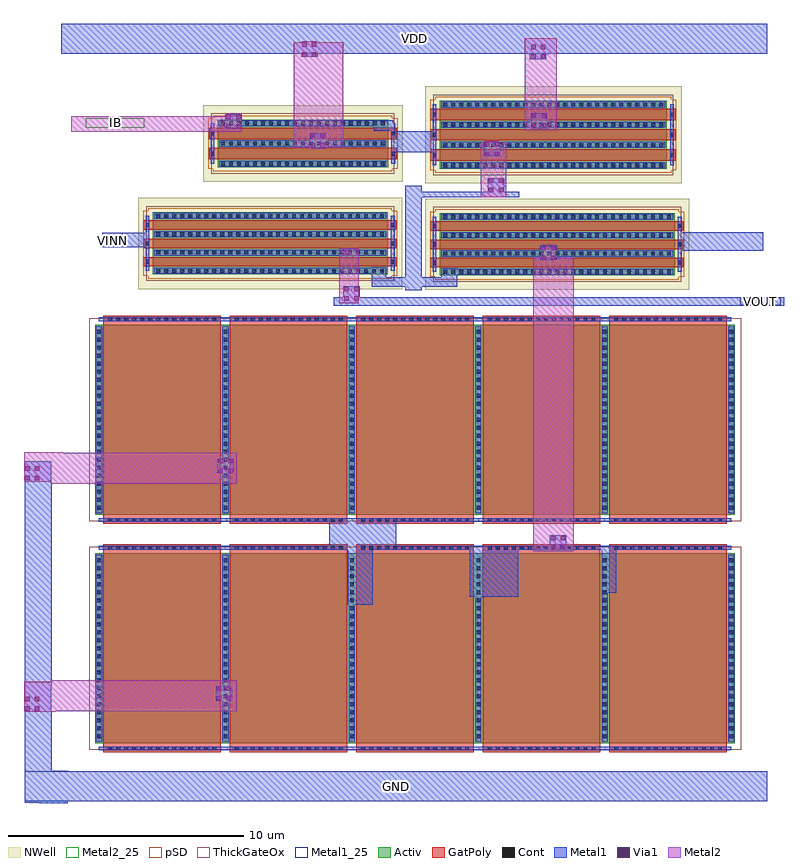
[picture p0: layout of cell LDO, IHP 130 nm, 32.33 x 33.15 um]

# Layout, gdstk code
from math import pi, radians
import gdstk
lib = gdstk.Library(unit=1e-6, precision=1e-09)
def R(c, l, rs):  # rectangles x0, y0, x1, y1
    for r in rs: c.add(gdstk.rectangle(r[:2], r[2:], *l))
def A(c, l, x, y, w, h, nx, ny, dx, dy):  # array of equal rectangles
    R(c, l, [(x+i*dx, y+j*dy, x+i*dx+w, y+j*dy+h) for i in range(nx) for j in range(ny)])
Activ = (1, 0)
GatPoly = (5, 0)
Cont = (6, 0)
Metal1 = (8, 0)
Metal1_25 = (8, 25)
Metal2 = (10, 0)
Metal2_25 = (10, 25)
pSD = (14, 0)
Via1 = (19, 0)
NWell = (31, 0)
ThickGateOx = (44, 0)

via_6rc4qx = lib.new_cell('via_6RC4QX')
R(via_6rc4qx, Metal1, [(-0.35,-0.31,0.35,0.31)])
R(via_6rc4qx, Metal2, [(-0.305,-0.35,0.305,0.35)])
R(via_6rc4qx, Via1, [(-0.3,-0.3,-0.11,-0.11), (0.11,-0.3,0.3,-0.11), (-0.3,0.11,-0.11,0.3), (0.11,0.11,0.3,0.3)])

sg13_hv_pmos_bjjluz = lib.new_cell('sg13_hv_pmos_BJJLUZ')
R(sg13_hv_pmos_bjjluz, Activ, [(-1.44,-4.835,1.44,4.835)])
A(sg13_hv_pmos_bjjluz, GatPoly, -1.1, -5.205, 0.48, 10.41, 3, 1, 0.86, 0)
A(sg13_hv_pmos_bjjluz, Cont, -0.94, -5.135, 0.16, 0.16, 3, 2, 0.86, 10.11)
A(sg13_hv_pmos_bjjluz, Cont, -1.37, -4.67, 0.16, 0.16, 4, 28, 0.86, 0.34)
A(sg13_hv_pmos_bjjluz, Metal1, -1.42, -4.765, 0.26, 9.53, 4, 1, 0.86, 0)
R(sg13_hv_pmos_bjjluz, Metal1, [(-1.29,-5.135,1.29,-4.975), (-1.29,4.975,1.29,5.135)])
R(sg13_hv_pmos_bjjluz, pSD, [(-1.5,-5.235,1.5,-5.015), (-1.62,-5.015,1.62,5.015), (-1.5,5.015,1.5,5.235)])
R(sg13_hv_pmos_bjjluz, NWell, [(-2.06,-5.455,2.06,5.455)])
R(sg13_hv_pmos_bjjluz, ThickGateOx, [(-1.71,-5.105,1.71,5.105)])
sg13_hv_pmos_bjjluz.add(gdstk.Label('S2', (1.29,0), layer=8, texttype=25))
sg13_hv_pmos_bjjluz.add(gdstk.Label('D2', (0.43,0), layer=8, texttype=25))
sg13_hv_pmos_bjjluz.add(gdstk.Label('S1', (-0.43,0), layer=8, texttype=25))
sg13_hv_pmos_bjjluz.add(gdstk.Label('G', (-0.86,5.055), layer=8, texttype=25))
sg13_hv_pmos_bjjluz.add(gdstk.Label('G', (0,5.055), layer=8, texttype=25))
sg13_hv_pmos_bjjluz.add(gdstk.Label('G', (0.86,5.055), layer=8, texttype=25))
sg13_hv_pmos_bjjluz.add(gdstk.Label('D0', (-1.29,0), layer=8, texttype=25))

sg13_hv_nmos_h3lz6b = lib.new_cell('sg13_hv_nmos_H3LZ6B')
R(sg13_hv_nmos_h3lz6b, Activ, [(-13.6,-4.05,13.6,4.05)])
A(sg13_hv_nmos_h3lz6b, GatPoly, -13.26, -4.42, 5, 8.84, 5, 1, 5.38, 0)
A(sg13_hv_nmos_h3lz6b, Cont, -13.05, -4.35, 0.16, 0.16, 14, 2, 0.34, 8.54)
A(sg13_hv_nmos_h3lz6b, Cont, -7.67, -4.35, 0.16, 0.16, 14, 2, 0.34, 8.54)
A(sg13_hv_nmos_h3lz6b, Cont, -2.29, -4.35, 0.16, 0.16, 14, 2, 0.34, 8.54)
A(sg13_hv_nmos_h3lz6b, Cont, 3.09, -4.35, 0.16, 0.16, 14, 2, 0.34, 8.54)
A(sg13_hv_nmos_h3lz6b, Cont, 8.47, -4.35, 0.16, 0.16, 14, 2, 0.34, 8.54)
A(sg13_hv_nmos_h3lz6b, Cont, -13.53, -3.82, 0.16, 0.16, 6, 23, 5.38, 0.34)
A(sg13_hv_nmos_h3lz6b, Metal1, -13.58, -3.98, 0.26, 7.96, 6, 1, 5.38, 0)
R(sg13_hv_nmos_h3lz6b, Metal1, [(-13.45,-4.35,13.45,-4.19), (-13.45,4.19,13.45,4.35)])
R(sg13_hv_nmos_h3lz6b, ThickGateOx, [(-13.87,-4.32,13.87,4.32)])
sg13_hv_nmos_h3lz6b.add(gdstk.Label('S4', (13.45,0), layer=8, texttype=25))
sg13_hv_nmos_h3lz6b.add(gdstk.Label('S3', (2.69,0), layer=8, texttype=25))
sg13_hv_nmos_h3lz6b.add(gdstk.Label('D2', (-2.69,0), layer=8, texttype=25))
sg13_hv_nmos_h3lz6b.add(gdstk.Label('S1', (-8.07,0), layer=8, texttype=25))
sg13_hv_nmos_h3lz6b.add(gdstk.Label('D4', (8.07,0), layer=8, texttype=25))
sg13_hv_nmos_h3lz6b.add(gdstk.Label('G', (-10.76,4.27), layer=8, texttype=25))
sg13_hv_nmos_h3lz6b.add(gdstk.Label('G', (-5.38,4.27), layer=8, texttype=25))
sg13_hv_nmos_h3lz6b.add(gdstk.Label('G', (0,4.27), layer=8, texttype=25))
sg13_hv_nmos_h3lz6b.add(gdstk.Label('G', (5.38,4.27), layer=8, texttype=25))
sg13_hv_nmos_h3lz6b.add(gdstk.Label('G', (10.76,4.27), layer=8, texttype=25))
sg13_hv_nmos_h3lz6b.add(gdstk.Label('D0', (-13.45,0), layer=8, texttype=25))

via_gq9r9n = lib.new_cell('via_GQ9R9N')
R(via_gq9r9n, Metal1, [(-0.145,-0.105,0.145,0.105)])
R(via_gq9r9n, Metal2, [(-0.1,-0.145,0.1,0.145)])
R(via_gq9r9n, Via1, [(-0.095,-0.095,0.095,0.095)])

sg13_hv_pmos_qbfrvx = lib.new_cell('sg13_hv_pmos_QBFRVX')
R(sg13_hv_pmos_qbfrvx, Activ, [(-1.32,-5,1.32,5)])
A(sg13_hv_pmos_qbfrvx, GatPoly, -0.98, -5.37, 0.4, 10.74, 3, 1, 0.78, 0)
A(sg13_hv_pmos_qbfrvx, Cont, -0.86, -5.3, 0.16, 0.16, 3, 2, 0.78, 10.44)
A(sg13_hv_pmos_qbfrvx, Cont, -1.25, -4.84, 0.16, 0.16, 4, 29, 0.78, 0.34)
A(sg13_hv_pmos_qbfrvx, Metal1, -1.3, -4.93, 0.26, 9.86, 4, 1, 0.78, 0)
R(sg13_hv_pmos_qbfrvx, Metal1, [(-1.17,-5.3,1.17,-5.14), (-1.17,5.14,1.17,5.3)])
R(sg13_hv_pmos_qbfrvx, pSD, [(-1.38,-5.4,1.38,-5.18), (-1.5,-5.18,1.5,5.18), (-1.38,5.18,1.38,5.4)])
R(sg13_hv_pmos_qbfrvx, NWell, [(-1.94,-5.62,1.94,5.62)])
R(sg13_hv_pmos_qbfrvx, ThickGateOx, [(-1.59,-5.27,1.59,5.27)])
sg13_hv_pmos_qbfrvx.add(gdstk.Label('S2', (1.17,0), layer=8, texttype=25))
sg13_hv_pmos_qbfrvx.add(gdstk.Label('D2', (0.39,0), layer=8, texttype=25))
sg13_hv_pmos_qbfrvx.add(gdstk.Label('S1', (-0.39,0), layer=8, texttype=25))
sg13_hv_pmos_qbfrvx.add(gdstk.Label('G', (-0.78,5.22), layer=8, texttype=25))
sg13_hv_pmos_qbfrvx.add(gdstk.Label('G', (0,5.22), layer=8, texttype=25))
sg13_hv_pmos_qbfrvx.add(gdstk.Label('G', (0.78,5.22), layer=8, texttype=25))
sg13_hv_pmos_qbfrvx.add(gdstk.Label('D0', (-1.17,0), layer=8, texttype=25))

sg13_hv_pmos_hrpdyf = lib.new_cell('sg13_hv_pmos_HRPDYF')
R(sg13_hv_pmos_hrpdyf, Activ, [(-1.01,-3.625,1.01,3.625)])
R(sg13_hv_pmos_hrpdyf, GatPoly, [(-0.67,-3.995,-0.19,3.995), (0.19,-3.995,0.67,3.995)])
A(sg13_hv_pmos_hrpdyf, Cont, -0.94, -3.48, 0.16, 0.16, 3, 21, 0.86, 0.34)
R(sg13_hv_pmos_hrpdyf, Cont, [(-0.51,-3.925,-0.35,-3.765), (0.35,-3.925,0.51,-3.765), (-0.51,3.765,-0.35,3.925), (0.35,3.765,0.51,3.925)])
A(sg13_hv_pmos_hrpdyf, Metal1, -0.99, -3.555, 0.26, 7.11, 3, 1, 0.86, 0)
R(sg13_hv_pmos_hrpdyf, Metal1, [(-0.86,-3.925,0.86,-3.765), (-0.86,3.765,0.86,3.925)])
R(sg13_hv_pmos_hrpdyf, pSD, [(-1.07,-4.025,1.07,-3.805), (-1.19,-3.805,1.19,3.805), (-1.07,3.805,1.07,4.025)])
R(sg13_hv_pmos_hrpdyf, NWell, [(-1.63,-4.245,1.63,4.245)])
R(sg13_hv_pmos_hrpdyf, ThickGateOx, [(-1.28,-3.895,1.28,3.895)])
sg13_hv_pmos_hrpdyf.add(gdstk.Label('S1', (0,0), layer=8, texttype=25))
sg13_hv_pmos_hrpdyf.add(gdstk.Label('G', (-0.43,3.845), layer=8, texttype=25))
sg13_hv_pmos_hrpdyf.add(gdstk.Label('G', (0.43,3.845), layer=8, texttype=25))
sg13_hv_pmos_hrpdyf.add(gdstk.Label('D0', (-0.86,0), layer=8, texttype=25))

ldo = lib.new_cell('LDO')
R(ldo, Metal1, [(-7.43,-32.67,-6.2,-32.65), (-8.04,-32.65,-6.2,-32.59), (-8.04,-32.59,23.55,-31.31), (-8.04,-31.31,-6.2,-31.3), (-8.04,-31.3,-6.88,-28.77), (-8.04,-28.77,-6.92,-27.67), (-8.04,-27.67,-6.88,-19.09), (5.7,-24.24,6.77,-21.9), (10.9,-23.9,12.96,-21.84), (16.51,-23.72,17.13,-21.78), (4.92,-21.9,7.76,-20.57), (-8.04,-19.09,-6.92,-18.13), (-7.1,-18.13,-6.92,-18.12), (5.1,-11.52,24.26,-11.16), (8.14,-10.85,8.84,-10.7), (6.73,-10.7,10.35,-10.295), (6.73,-10.295,7.37,-10.29), (8.14,-10.295,8.84,-6.9), (9.68,-10.295,10.35,-9.92), (6.73,-10.29,7.33,-9.88), (19.78,-9.18,23.38,-8.39), (-4.75,-9.02,-2.79,-8.4), (6.56,-7.81,6.75,-7.79), (8.14,-6.9,13,-6.655), (8.14,-6.655,8.84,-6.41), (7.59,-4.99,9.43,-4.09), (6.81,-4.07,7.63,-3.62), (-6.49,-0.8,23.55,0.48)])
R(ldo, Metal1_25, [(-8.04,-32.59,23.55,-31.31), (22.39,-11.5,24.13,-11.18), (-4.75,-9.02,-3.9,-8.41), (-6.49,-0.8,23.55,0.48)])
R(ldo, Metal2, [(-8.07,-28.79,-6.75,-28.77), (-8.07,-28.77,0.99,-27.51), (-6.92,-27.51,0.99,-27.45), (13.6,-21.95,15.31,-9.47), (-6.92,-19.09,0.99,-18.99), (-8.07,-18.99,0.99,-17.77), (-8.07,-17.77,-6.44,-17.74), (5.35,-11.41,6.18,-9.07), (11.37,-6.9,12.44,-4.56), (3.41,-4.78,5.51,-0.3), (-6.06,-4.12,1.19,-3.46), (13.24,-4.05,14.6,-0.13)])
R(ldo, Metal2_25, [(-5.44,-3.93,-2.95,-3.54)])
R(ldo, NWell, [(7.49,-7.8,7.53,-7.29)])
ldo.add(gdstk.Reference(via_6rc4qx, (13.8,-0.71)))
ldo.add(gdstk.Reference(via_6rc4qx, (4.07,-0.61)))
ldo.add(gdstk.Reference(via_6rc4qx, (13.84,-3.64)))
ldo.add(gdstk.Reference(via_6rc4qx, (0.84,-3.68)))
ldo.add(gdstk.Reference(sg13_hv_pmos_bjjluz, (14.445,-4.24), rotation=3*pi/2))
ldo.add(gdstk.Reference(via_6rc4qx, (4.43,-4.48)))
ldo.add(gdstk.Reference(via_6rc4qx, (11.83,-4.84)))
ldo.add(gdstk.Reference(via_6rc4qx, (12.01,-6.39)))
ldo.add(gdstk.Reference(via_6rc4qx, (14.65,-21.59)))
ldo.add(gdstk.Reference(via_6rc4qx, (14.24,-9.27)))
ldo.add(gdstk.Reference(via_6rc4qx, (0.43,-28)))
ldo.add(gdstk.Reference(via_6rc4qx, (-7.72,-28.44)))
ldo.add(gdstk.Reference(sg13_hv_nmos_h3lz6b, (8.57,-16.36)))
ldo.add(gdstk.Reference(via_6rc4qx, (0.5,-18.33)))
ldo.add(gdstk.Reference(via_gq9r9n, (5.665,-9.255)))
ldo.add(gdstk.Reference(via_6rc4qx, (-7.72,-18.64)))
ldo.add(gdstk.Reference(sg13_hv_nmos_h3lz6b, (8.57,-26.08)))
ldo.add(gdstk.Reference(sg13_hv_pmos_qbfrvx, (2.4,-8.86), rotation=3*pi/2))
ldo.add(gdstk.Reference(via_6rc4qx, (5.86,-11)))
ldo.add(gdstk.Reference(sg13_hv_pmos_hrpdyf, (3.795,-4.61), rotation=3*pi/2))
ldo.add(gdstk.Reference(sg13_hv_pmos_qbfrvx, (14.61,-8.9), rotation=3*pi/2))
ldo.add(gdstk.Label('VDD', (8.53,-0.16), layer=8, texttype=25))
ldo.add(gdstk.Label('GND', (7.755,-31.95), layer=8, texttype=25))
ldo.add(gdstk.Label('VINN', (-4.325,-8.715), layer=8, texttype=25))
ldo.add(gdstk.Label('VOUT', (23.26,-11.34), layer=8, texttype=25))
ldo.add(gdstk.Label('IB', (-4.195,-3.735), layer=10, texttype=25))

lib.write_gds('LDO.gds')
